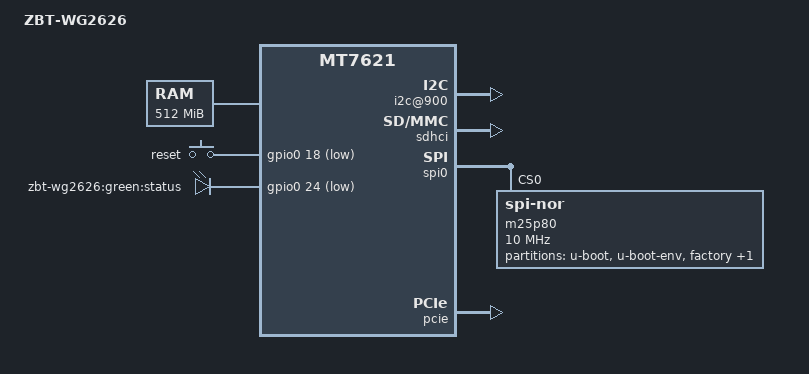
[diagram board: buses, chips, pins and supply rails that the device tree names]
/dts-v1/;

#include "mt7621.dtsi"

/ {
	compatible = "mediatek,mt7621-eval-board", "mediatek,mt7621-soc";
	model = "ZBT-WG2626";

	memory@0 {
		device_type = "memory";
		reg = <0x0 0x1c000000>, <0x20000000 0x4000000>;
	};

	chosen {
		bootargs = "console=ttyS0,115200";
	};

	palmbus: palmbus@1E000000 {
		i2c@900 {
			compatible = "ralink,i2c-mt7621";
			reg = <0x900 0x100>;
			#address-cells = <1>;
			#size-cells = <0>;
			pinctrl-names = "default";
			pinctrl-0 = <&i2c_pins>;
			status = "okay";
		};
	};

	gpio-keys-polled {
		compatible = "gpio-keys-polled";
		#address-cells = <1>;
		#size-cells = <0>;
		poll-interval = <20>;

		reset {
			label = "reset";
			gpios = <&gpio0 18 1>;
			linux,code = <0x198>;
		};
	};

	gpio-leds {
		compatible = "gpio-leds";

		status {
			label = "zbt-wg2626:green:status";
			gpios = <&gpio0 24 1>;
		};
	};
};

&sdhci {
	status = "okay";
};

&spi0 {
	status = "okay";

	m25p80@0 {
		#address-cells = <1>;
		#size-cells = <1>;
		compatible = "jedec,spi-nor";
		reg = <0>;
		linux,modalias = "m25p80";
		spi-max-frequency = <10000000>;

		partition@0 {
			label = "u-boot";
			reg = <0x0 0x30000>;
			read-only;
		};

		partition@30000 {
			label = "u-boot-env";
			reg = <0x30000 0x10000>;
			read-only;
		};

		factory: partition@40000 {
			label = "factory";
			reg = <0x40000 0x10000>;
			read-only;
		};

		partition@50000 {
			label = "firmware";
			reg = <0x50000 0xfb0000>;
		};
	};
};

&pcie {
	status = "okay";

	pcie0 {
		mt76@0,0 {
			reg = <0x0000 0 0 0 0>;
			device_type = "pci";
			mediatek,mtd-eeprom = <&factory 0x8000>;
			mediatek,2ghz = <0>;
		};
	};

	pcie1 {
		mt76@1,0 {
			reg = <0x0000 0 0 0 0>;
			device_type = "pci";
			mediatek,mtd-eeprom = <&factory 0x0000>;
			mediatek,5ghz = <0>;
		};
	};
};

&ethernet {
	mtd-mac-address = <&factory 0xe000>;
};

&pinctrl {
	state_default: pinctrl0 {
		gpio {
			ralink,group = "wdt", "rgmii2", "wdt rst", "jtag", "mdio";
			ralink,function = "gpio";
		};
	};
};
